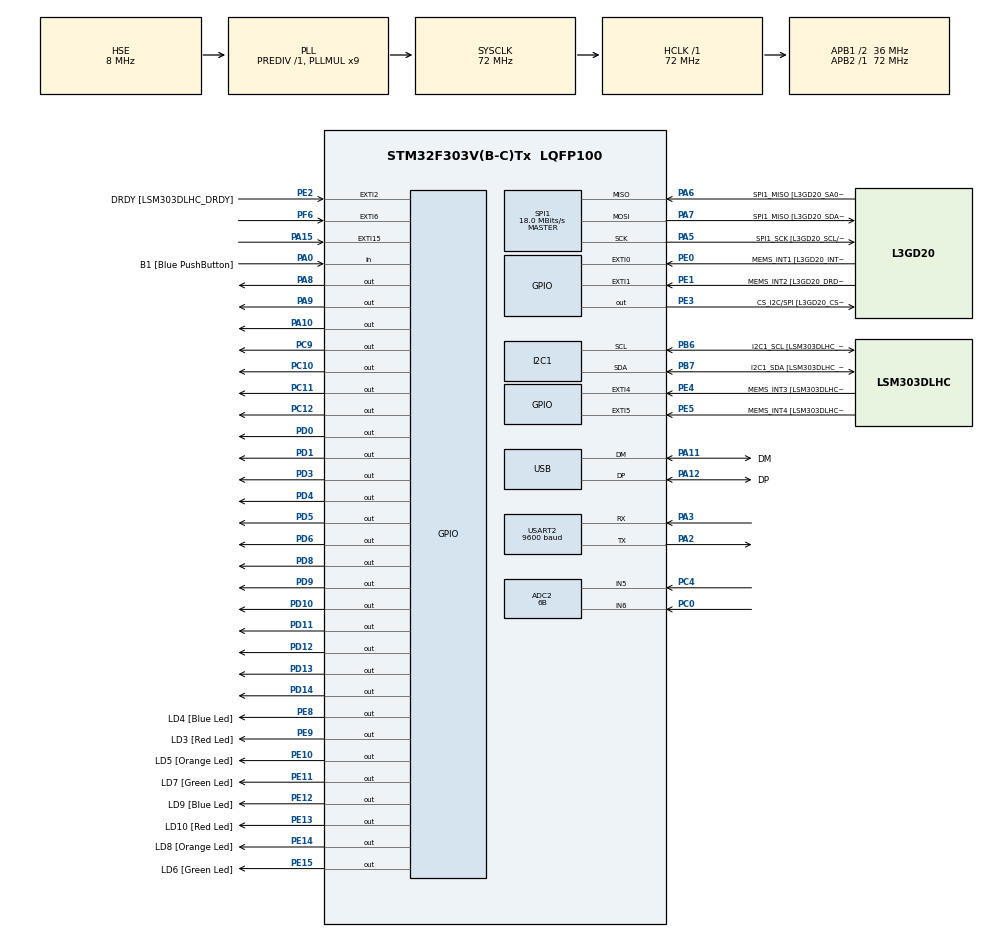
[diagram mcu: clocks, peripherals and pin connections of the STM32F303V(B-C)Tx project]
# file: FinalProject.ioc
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ADC2.Channel-4\#ChannelRegularConversion=ADC_CHANNEL_5
ADC2.NbrOfConversionFlag=1
ADC2.Offset-4\#ChannelRegularConversion=0
ADC2.OffsetNumber-4\#ChannelRegularConversion=ADC_OFFSET_NONE
ADC2.Rank-4\#ChannelRegularConversion=1
ADC2.Resolution=ADC_RESOLUTION_6B
ADC2.SamplingTime-4\#ChannelRegularConversion=ADC_SAMPLETIME_601CYCLES_5
ADC2.SingleDiff-4\#ChannelRegularConversion=ADC_DIFFERENTIAL_ENDED
I2C1.Timing-I2C=0x2000090E
Mcu.Family=STM32F3
Mcu.Name=STM32F303V(B-C)Tx
Mcu.Package=LQFP100
NVIC.ADC1_2_IRQn=true\:1\:0\:true\:false\:true\:true
NVIC.EXTI15_10_IRQn=true\:0\:0\:false\:false\:true\:true
NVIC.EXTI9_5_IRQn=true\:0\:0\:false\:false\:true\:true
NVIC.PriorityGroup=NVIC_PRIORITYGROUP_4
NVIC.TIM2_IRQn=true\:2\:0\:true\:false\:true\:true
NVIC.TIM3_IRQn=true\:1\:0\:true\:false\:true\:true
NVIC.TIM4_IRQn=true\:0\:0\:true\:false\:true\:true
NVIC.USART2_IRQn=true\:0\:0\:true\:false\:true\:true
PA0.GPIO_Label=B1 [Blue PushButton]
PA0.Signal=GPIO_Input
PA10.Signal=GPIO_Output
PA11.GPIO_Label=DM
PA11.Mode=Device
PA11.Signal=USB_DM
PA12.GPIO_Label=DP
PA12.Mode=Device
PA12.Signal=USB_DP
PA13.GPIO_Label=SWDIO
PA13.Mode=Serial_Wire
PA13.Signal=SYS_JTMS-SWDIO
PA14.GPIO_Label=SWCLK
PA14.Mode=Serial_Wire
PA14.Signal=SYS_JTCK-SWCLK
PA15.GPIO_PuPd=GPIO_PULLDOWN
PA15.Signal=GPXTI15
PA2.Mode=Asynchronous
PA2.Signal=USART2_TX
PA3.Mode=Asynchronous
PA3.Signal=USART2_RX
PA5.GPIO_Label=SPI1_SCK [L3GD20_SCL/SPC]
PA5.Mode=Full_Duplex_Master
PA5.Signal=SPI1_SCK
PA6.GPIO_Label=SPI1_MISO [L3GD20_SA0/SDO]
PA6.Mode=Full_Duplex_Master
PA6.Signal=SPI1_MISO
PA7.GPIO_Label=SPI1_MISO [L3GD20_SDA/SDI/SDO]
PA7.Mode=Full_Duplex_Master
PA7.Signal=SPI1_MOSI
PA8.Signal=GPIO_Output
PA9.Signal=GPIO_Output
PB3.GPIO_Label=SWO
PB3.Signal=SYS_JTDO-TRACESWO
PB6.GPIO_Label=I2C1_SCL [LSM303DLHC_SCL]
PB6.Mode=I2C
PB6.Signal=I2C1_SCL
PB7.GPIO_Label=I2C1_SDA [LSM303DLHC_SDA]
PB7.Mode=I2C
PB7.Signal=I2C1_SDA
PC0.Signal=ADCx_IN6
PC10.Signal=GPIO_Output
PC11.Signal=GPIO_Output
PC12.Signal=GPIO_Output
PC14-OSC32_IN.GPIO_Label=OSC32_IN
PC14-OSC32_IN.Signal=RCC_OSC32_IN
PC15-OSC32_OUT.GPIO_Label=OSC32_OUT
PC15-OSC32_OUT.Signal=RCC_OSC32_OUT
PC4.Mode=IN5-Differential
PC4.Signal=ADC2_IN5
PC9.Signal=GPIO_Output
PD0.Signal=GPIO_Output
PD1.Signal=GPIO_Output
PD10.Signal=GPIO_Output
PD11.Signal=GPIO_Output
PD12.Signal=GPIO_Output
PD13.Signal=GPIO_Output
PD14.Signal=GPIO_Output
PD3.Signal=GPIO_Output
PD4.Signal=GPIO_Output
PD5.Signal=GPIO_Output
PD6.Signal=GPIO_Output
PD8.Signal=GPIO_Output
PD9.Signal=GPIO_Output
PE0.GPIO_Label=MEMS_INT1 [L3GD20_INT1]
PE0.GPIO_ModeDefaultEXTI=GPIO_MODE_EVT_RISING
PE0.Signal=GPXTI0
PE1.GPIO_Label=MEMS_INT2 [L3GD20_DRDY/INT2]
PE1.GPIO_ModeDefaultEXTI=GPIO_MODE_EVT_RISING
PE1.Signal=GPXTI1
PE10.GPIO_Label=LD5 [Orange Led]
PE10.Signal=GPIO_Output
PE11.GPIO_Label=LD7 [Green Led]
PE11.Signal=GPIO_Output
PE12.GPIO_Label=LD9 [Blue Led]
PE12.Signal=GPIO_Output
PE13.GPIO_Label=LD10 [Red Led]
PE13.Signal=GPIO_Output
PE14.GPIO_Label=LD8 [Orange Led]
PE14.Signal=GPIO_Output
PE15.GPIO_Label=LD6 [Green Led]
PE15.Signal=GPIO_Output
PE2.GPIO_Label=DRDY [LSM303DLHC_DRDY]
PE2.GPIO_ModeDefaultEXTI=GPIO_MODE_EVT_RISING
PE2.Signal=GPXTI2
PE3.GPIO_Label=CS_I2C/SPI [L3GD20_CS_I2C/SPI]
PE3.Signal=GPIO_Output
PE4.GPIO_Label=MEMS_INT3 [LSM303DLHC_INT1]
PE4.GPIO_ModeDefaultEXTI=GPIO_MODE_EVT_RISING
PE4.Signal=GPXTI4
PE5.GPIO_Label=MEMS_INT4 [LSM303DLHC_INT2]
PE5.GPIO_ModeDefaultEXTI=GPIO_MODE_EVT_RISING
PE5.Signal=GPXTI5
PE8.GPIO_Label=LD4 [Blue Led]
PE8.Signal=GPIO_Output
PE9.GPIO_Label=LD3 [Red Led]
PE9.Signal=GPIO_Output
PF0-OSC_IN.GPIO_Label=OSC_IN
PF0-OSC_IN.Mode=HSE-External-Clock-Source
PF0-OSC_IN.Signal=RCC_OSC_IN
PF1-OSC_OUT.GPIO_Label=OSC_OUT
PF1-OSC_OUT.Signal=RCC_OSC_OUT
PF6.GPIO_PuPd=GPIO_PULLDOWN
PF6.Signal=GPXTI6
ProjectManager.HeapSize=0x200
ProjectManager.StackSize=0x400
ProjectManager.TargetToolchain=MDK-ARM V5
RCC.AHBFreq_Value=72000000
RCC.APB1CLKDivider=RCC_HCLK_DIV2
RCC.APB1Freq_Value=36000000
RCC.APB1TimFreq_Value=72000000
RCC.APB2Freq_Value=72000000
RCC.APB2TimFreq_Value=72000000
RCC.CortexFreq_Value=72000000
RCC.HCLKFreq_Value=72000000
RCC.HSE_VALUE=8000000
RCC.HSI_VALUE=8000000
RCC.LSE_VALUE=32768
RCC.PLLMUL=RCC_PLL_MUL9
RCC.PRESCALERUSB=RCC_USBCLKSOURCE_PLL_DIV1_5
RCC.SYSCLKFreq_VALUE=72000000
RCC.SYSCLKSourceVirtual=RCC_SYSCLKSOURCE_PLLCLK
RCC.USBFreq_Value=48000000
SH.ADCx_IN6.0=ADC2_IN6,IN5-Differential
SPI1.BaudRatePrescaler=SPI_BAUDRATEPRESCALER_4
SPI1.BaudRatePrescaler-Full_Duplex_Master=SPI_BAUDRATEPRESCALER_2
SPI1.CalculateBaudRate=18.0 MBits/s
SPI1.CalculateBaudRate-Full_Duplex_Master=24.0 MBits/s
SPI1.Direction=SPI_DIRECTION_2LINES
SPI1.Mode=SPI_MODE_MASTER
SPI1.Mode-Full_Duplex_Master=SPI_MODE_MASTER
SPI1.VirtualType=VM_MASTER
TIM2.Period=100000
TIM2.Prescaler=1439
TIM3.Period=10000
TIM3.Prescaler=125
TIM4.Period=1000
TIM4.Prescaler=125
USART2.BaudRate=9600
USART2.VirtualMode-Asynchronous=VM_ASYNC
VP_TIM2_VS_ClockSourceINT.Mode=Internal
VP_TIM3_VS_ClockSourceINT.Mode=Internal
VP_TIM4_VS_ClockSourceINT.Mode=Internal
board=STM32F3DISCOVERY

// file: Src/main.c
/**
  ******************************************************************************
  * @file           : main.c
  * @brief          : Main program body
  ******************************************************************************
  ** This notice applies to any and all portions of this file
  * that are not between comment pairs USER CODE BEGIN and
  * USER CODE END. Other portions of this file, whether
  * inserted by the user or by software development tools
  * are owned by their respective copyright owners.
  *
  * COPYRIGHT(c) 2020 STMicroelectronics
  *
  * Redistribution and use in source and binary forms, with or without modification,
  * are permitted provided that the following conditions are met:
  *   1. Redistributions of source code must retain the above copyright notice,
  *      this list of conditions and the following disclaimer.
  *   2. Redistributions in binary form must reproduce the above copyright notice,
  *      this list of conditions and the following disclaimer in the documentation
  *      and/or other materials provided with the distribution.
  *   3. Neither the name of STMicroelectronics nor the names of its contributors
  *      may be used to endorse or promote products derived from this software
  *      without specific prior written permission.
  *
  * THIS SOFTWARE IS PROVIDED BY THE COPYRIGHT HOLDERS AND CONTRIBUTORS "AS IS"
  * AND ANY EXPRESS OR IMPLIED WARRANTIES, INCLUDING, BUT NOT LIMITED TO, THE
  * IMPLIED WARRANTIES OF MERCHANTABILITY AND FITNESS FOR A PARTICULAR PURPOSE ARE
  * DISCLAIMED. IN NO EVENT SHALL THE COPYRIGHT HOLDER OR CONTRIBUTORS BE LIABLE
  * FOR ANY DIRECT, INDIRECT, INCIDENTAL, SPECIAL, EXEMPLARY, OR CONSEQUENTIAL
  * DAMAGES (INCLUDING, BUT NOT LIMITED TO, PROCUREMENT OF SUBSTITUTE GOODS OR
  * SERVICES; LOSS OF USE, DATA, OR PROFITS; OR BUSINESS INTERRUPTION) HOWEVER
  * CAUSED AND ON ANY THEORY OF LIABILITY, WHETHER IN CONTRACT, STRICT LIABILITY,
  * OR TORT (INCLUDING NEGLIGENCE OR OTHERWISE) ARISING IN ANY WAY OUT OF THE USE
  * OF THIS SOFTWARE, EVEN IF ADVISED OF THE POSSIBILITY OF SUCH DAMAGE.
  *
  ******************************************************************************
  */
#include "main.h"
#include "stm32f3xx_hal.h"

/* USER CODE BEGIN Includes */
#include "stdio.h"
#include "stdlib.h"
#include "time.h"
#include "LiquidCrystal.h"
/* USER CODE END Includes */

ADC_HandleTypeDef hadc2;

I2C_HandleTypeDef hi2c1;

SPI_HandleTypeDef hspi1;

TIM_HandleTypeDef htim2;
TIM_HandleTypeDef htim3;
TIM_HandleTypeDef htim4;

UART_HandleTypeDef huart2;

PCD_HandleTypeDef hpcd_USB_FS;

/* USER CODE BEGIN PV */
/* Private variables ---------------------------------------------------------*/

/* USER CODE END PV */

void SystemClock_Config(void);
static void MX_GPIO_Init(void);
static void MX_I2C1_Init(void);
static void MX_SPI1_Init(void);
static void MX_USB_PCD_Init(void);
static void MX_USART2_UART_Init(void);
static void MX_TIM2_Init(void);
static void MX_TIM4_Init(void);
static void MX_ADC2_Init(void);
static void MX_TIM3_Init(void);

/* USER CODE BEGIN PFP */
/* Private function prototypes -----------------------------------------------*/

/* USER CODE END PFP */

/* USER CODE BEGIN 0 */
int shuru=0;
int yeks=0;
int i=0,j=0,f=0,l=0,le=0;
int arr[20][8]={0};
unsigned char data[1];
typedef unsigned char byte;
int speed=5;
byte nghte[8] = {
  0x06,
  0x06,
  0x00,
  0x00,
  0x00,
  0x00,
  0x00,
  0x00
};
byte ccs[8] = {
  0x00,
  0x00,
  0x07,
  0x0F,
  0x1C,
  0x18,
  0x00,
  0x00
};
byte ccst[8] = {
  0x00,
  0x00,
  0x18,
  0x1E,
  0x0F,
  0x03,
  0x00,
  0x00
};
byte up[8] = {
  0x00,
  0x00,
  0x1F,
  0x1F,
  0x00,
  0x00,
  0x00,
  0x00
};
byte upvsib[8] = {
  0x00,
  0x00,
  0x1F,
  0x1F,
  0x00,
  0x04,
  0x0A,
  0x04
};
byte dwnvsib[8] = {
  0x04,
  0x0A,
  0x04,
  0x00,
  0x00,
  0x00,
  0x1F,
  0x1F
};
byte usib[8] = {
  0x04,
  0x0A,
  0x04,
  0x00,
  0x00,
  0x00,
  0x00,
  0x00
};
byte dsib[8] = {
  0x00,
  0x00,
  0x00,
  0x00,
  0x00,
  0x04,
  0x0A,
  0x04
};
byte dwn[8] = {
  0x00,
  0x00,
  0x00,
  0x00,
  0x00,
  0x00,
  0x1F,
  0x1F
};
byte dota[8] = {
  0x00,
  0x00,
  0x1F,
  0x1F,
  0x00,
  0x00,
  0x1F,
  0x1F
};
byte astin2[] = {
  0x07,
  0x08,
  0x10,
  0x10,
  0x10,
  0x10,
  0x08,
  0x05
};
byte shast[] = {
  0x05,
  0x05,
  0x02,
  0x00,
  0x00,
  0x00,
  0x00,
  0x00
};
byte dast[] = {
  0x1E,
  0x01,
  0x07,
  0x01,
  0x07,
  0x01,
  0x1E,
  0x00
};
byte avalsar[8] = {
  0x00,
  0x00,
  0x0C,
  0x1A,
  0x1F,
  0x1F,
  0x00,
  0x00
};
byte dahan[8] = {
  0x00,
  0x00,
  0x0C,
  0x1B,
  0x1E,
  0x1F,
  0x00,
  0x00
};
byte kolebadn[8] = {
  0x00,
  0x00,
  0x00,
  0x00,
  0x1F,
  0x1F,
  0x00,
  0x00
};
byte siah[8] = {
  0x00,
  0x0C,
  0x08,
  0x1C,
  0x1C,
  0x1C,
  0x00,
  0x00
};
byte sarebar[8] = {
  0x01,
  0x03,
  0x03,
  0x01,
  0x00,
  0x00,
  0x00,
  0x00
};
byte tahebar[8] = {
  0x10,
  0x18,
  0x18,
  0x10,
  0x00,
  0x00,
  0x00,
  0x00
};
byte badanebar[8] = {
  0x1F,
  0x00,
  0x00,
  0x1F,
  0x00,
  0x00,
  0x00,
  0x00
};
byte harbar[8] = {
   0x18,
  0x18,
  0x18,
  0x18,
  0x00,
  0x00,
  0x00,
  0x00
};
byte dobar[8] = {
  0x1B,
  0x1B,
  0x1B,
  0x1B,
  0x00,
  0x00,
  0x00,
  0x00
};

int x=0,y=0,cnt=0;
byte sar1[] = {
  0x1F,
  0x1F,
  0x1C,
  0x1C,
  0x10,
  0x08,
  0x06,
  0x01
};
byte sar3[] = {
  0x1F,
  0x1F,
  0x07,
  0x07,
  0x01,
  0x02,
  0x0C,
  0x10
};
byte sar2[] = {
  0x1F,
  0x1F,
  0x00,
  0x1B,
  0x1B,
  0x00,
  0x0E,
  0x00
};
/* USER CODE END 0 */

int main(void)
{

  /* MCU Configuration----------------------------------------------------------*/

  /* Reset of all peripherals, Initializes the Flash interface and the Systick. */
  HAL_Init();

  /* Configure the system clock */
  SystemClock_Config();

  /* Initialize all configured peripherals */
  MX_GPIO_Init();
  MX_I2C1_Init();
  MX_SPI1_Init();
  MX_USB_PCD_Init();
  MX_USART2_UART_Init();
  MX_TIM2_Init();
  MX_TIM4_Init();
  MX_ADC2_Init();
  MX_TIM3_Init();
  /* USER CODE BEGIN 2 */
	LiquidCrystal(GPIOD,GPIO_PIN_8,GPIO_PIN_9,GPIO_PIN_10,GPIO_PIN_11,GPIO_PIN_12,GPIO_PIN_13,GPIO_PIN_14);
	begin(20,4);
	HAL_TIM_Base_Start_IT(&htim3);
	HAL_GPIO_WritePin(GPIOA,GPIO_PIN_10,GPIO_PIN_SET);
	HAL_GPIO_WritePin(GPIOA,GPIO_PIN_9,GPIO_PIN_SET);
	HAL_GPIO_WritePin(GPIOA,GPIO_PIN_8,GPIO_PIN_SET);
	HAL_GPIO_WritePin(GPIOC,GPIO_PIN_9,GPIO_PIN_SET);
  HAL_UART_Receive_IT(&huart2,data,sizeof(data));
  /* USER CODE END 2 */

  /* Infinite loop */
  while (1)
  {

  }

}

void SystemClock_Config(void)
{

  RCC_OscInitTypeDef RCC_OscInitStruct;
  RCC_ClkInitTypeDef RCC_ClkInitStruct;
  RCC_PeriphCLKInitTypeDef PeriphClkInit;

    /**Initializes the CPU, AHB and APB busses clocks
    */
  RCC_OscInitStruct.OscillatorType = RCC_OSCILLATORTYPE_HSI|RCC_OSCILLATORTYPE_HSE;
  RCC_OscInitStruct.HSEState = RCC_HSE_BYPASS;
  RCC_OscInitStruct.HSEPredivValue = RCC_HSE_PREDIV_DIV1;
  RCC_OscInitStruct.HSIState = RCC_HSI_ON;
  RCC_OscInitStruct.HSICalibrationValue = 16;
  RCC_OscInitStruct.PLL.PLLState = RCC_PLL_ON;
  RCC_OscInitStruct.PLL.PLLSource = RCC_PLLSOURCE_HSE;
  RCC_OscInitStruct.PLL.PLLMUL = RCC_PLL_MUL9;
  if (HAL_RCC_OscConfig(&RCC_OscInitStruct) != HAL_OK)
  {
    _Error_Handler(__FILE__, __LINE__);
  }

    /**Initializes the CPU, AHB and APB busses clocks
    */
  RCC_ClkInitStruct.ClockType = RCC_CLOCKTYPE_HCLK|RCC_CLOCKTYPE_SYSCLK
                              |RCC_CLOCKTYPE_PCLK1|RCC_CLOCKTYPE_PCLK2;
  RCC_ClkInitStruct.SYSCLKSource = RCC_SYSCLKSOURCE_PLLCLK;
  RCC_ClkInitStruct.AHBCLKDivider = RCC_SYSCLK_DIV1;
  RCC_ClkInitStruct.APB1CLKDivider = RCC_HCLK_DIV2;
  RCC_ClkInitStruct.APB2CLKDivider = RCC_HCLK_DIV1;

  if (HAL_RCC_ClockConfig(&RCC_ClkInitStruct, FLASH_LATENCY_2) != HAL_OK)
  {
    _Error_Handler(__FILE__, __LINE__);
  }

  PeriphClkInit.PeriphClockSelection = RCC_PERIPHCLK_USB|RCC_PERIPHCLK_USART2
                              |RCC_PERIPHCLK_I2C1|RCC_PERIPHCLK_ADC12;
  PeriphClkInit.Usart2ClockSelection = RCC_USART2CLKSOURCE_PCLK1;
  PeriphClkInit.Adc12ClockSelection = RCC_ADC12PLLCLK_DIV1;
  PeriphClkInit.I2c1ClockSelection = RCC_I2C1CLKSOURCE_HSI;
  PeriphClkInit.USBClockSelection = RCC_USBCLKSOURCE_PLL_DIV1_5;
  if (HAL_RCCEx_PeriphCLKConfig(&PeriphClkInit) != HAL_OK)
  {
    _Error_Handler(__FILE__, __LINE__);
  }

    /**Configure the Systick interrupt time
    */
  HAL_SYSTICK_Config(HAL_RCC_GetHCLKFreq()/1000);

    /**Configure the Systick
    */
  HAL_SYSTICK_CLKSourceConfig(SYSTICK_CLKSOURCE_HCLK);

  /* SysTick_IRQn interrupt configuration */
  HAL_NVIC_SetPriority(SysTick_IRQn, 0, 0);
}

/* ADC2 init function */
static void MX_ADC2_Init(void)
{

  ADC_ChannelConfTypeDef sConfig;

    /**Common config
    */
  hadc2.Instance = ADC2;
  hadc2.Init.ClockPrescaler = ADC_CLOCK_ASYNC_DIV1;
  hadc2.Init.Resolution = ADC_RESOLUTION_6B;
  hadc2.Init.ScanConvMode = ADC_SCAN_DISABLE;
  hadc2.Init.ContinuousConvMode = DISABLE;
  hadc2.Init.DiscontinuousConvMode = DISABLE;
  hadc2.Init.ExternalTrigConvEdge = ADC_EXTERNALTRIGCONVEDGE_NONE;
  hadc2.Init.ExternalTrigConv = ADC_SOFTWARE_START;
  hadc2.Init.DataAlign = ADC_DATAALIGN_RIGHT;
  hadc2.Init.NbrOfConversion = 1;
  hadc2.Init.DMAContinuousRequests = DISABLE;
  hadc2.Init.EOCSelection = ADC_EOC_SINGLE_CONV;
  hadc2.Init.LowPowerAutoWait = DISABLE;
  hadc2.Init.Overrun = ADC_OVR_DATA_OVERWRITTEN;
  if (HAL_ADC_Init(&hadc2) != HAL_OK)
  {
    _Error_Handler(__FILE__, __LINE__);
  }

    /**Configure Regular Channel
    */
  sConfig.Channel = ADC_CHANNEL_5;
  sConfig.Rank = ADC_REGULAR_RANK_1;
  sConfig.SingleDiff = ADC_DIFFERENTIAL_ENDED;
  sConfig.SamplingTime = ADC_SAMPLETIME_601CYCLES_5;
  sConfig.OffsetNumber = ADC_OFFSET_NONE;
  sConfig.Offset = 0;
  if (HAL_ADC_ConfigChannel(&hadc2, &sConfig) != HAL_OK)
  {
    _Error_Handler(__FILE__, __LINE__);
  }

}

/* I2C1 init function */
static void MX_I2C1_Init(void)
{

  hi2c1.Instance = I2C1;
  hi2c1.Init.Timing = 0x2000090E;
  hi2c1.Init.OwnAddress1 = 0;
  hi2c1.Init.AddressingMode = I2C_ADDRESSINGMODE_7BIT;
  hi2c1.Init.DualAddressMode = I2C_DUALADDRESS_DISABLE;
  hi2c1.Init.OwnAddress2 = 0;
  hi2c1.Init.OwnAddress2Masks = I2C_OA2_NOMASK;
  hi2c1.Init.GeneralCallMode = I2C_GENERALCALL_DISABLE;
  hi2c1.Init.NoStretchMode = I2C_NOSTRETCH_DISABLE;
  if (HAL_I2C_Init(&hi2c1) != HAL_OK)
  {
    _Error_Handler(__FILE__, __LINE__);
  }

    /**Configure Analogue filter
    */
  if (HAL_I2CEx_ConfigAnalogFilter(&hi2c1, I2C_ANALOGFILTER_ENABLE) != HAL_OK)
  {
    _Error_Handler(__FILE__, __LINE__);
  }

    /**Configure Digital filter
    */
  if (HAL_I2CEx_ConfigDigitalFilter(&hi2c1, 0) != HAL_OK)
  {
    _Error_Handler(__FILE__, __LINE__);
  }

}

/* SPI1 init function */
static void MX_SPI1_Init(void)
{

  /* SPI1 parameter configuration*/
  hspi1.Instance = SPI1;
  hspi1.Init.Mode = SPI_MODE_MASTER;
  hspi1.Init.Direction = SPI_DIRECTION_2LINES;
  hspi1.Init.DataSize = SPI_DATASIZE_4BIT;
  hspi1.Init.CLKPolarity = SPI_POLARITY_LOW;
  hspi1.Init.CLKPhase = SPI_PHASE_1EDGE;
  hspi1.Init.NSS = SPI_NSS_SOFT;
  hspi1.Init.BaudRatePrescaler = SPI_BAUDRATEPRESCALER_4;
  hspi1.Init.FirstBit = SPI_FIRSTBIT_MSB;
  hspi1.Init.TIMode = SPI_TIMODE_DISABLE;
  hspi1.Init.CRCCalculation = SPI_CRCCALCULATION_DISABLE;
  hspi1.Init.CRCPolynomial = 7;
  hspi1.Init.CRCLength = SPI_CRC_LENGTH_DATASIZE;
  hspi1.Init.NSSPMode = SPI_NSS_PULSE_ENABLE;
  if (HAL_SPI_Init(&hspi1) != HAL_OK)
  {
    _Error_Handler(__FILE__, __LINE__);
  }

}

/* TIM2 init function */
static void MX_TIM2_Init(void)
{

  TIM_ClockConfigTypeDef sClockSourceConfig;
  TIM_MasterConfigTypeDef sMasterConfig;

  htim2.Instance = TIM2;
  htim2.Init.Prescaler = 1439;
  htim2.Init.CounterMode = TIM_COUNTERMODE_UP;
  htim2.Init.Period = 100000;
  htim2.Init.ClockDivision = TIM_CLOCKDIVISION_DIV1;
  htim2.Init.AutoReloadPreload = TIM_AUTORELOAD_PRELOAD_DISABLE;
  if (HAL_TIM_Base_Init(&htim2) != HAL_OK)
  {
    _Error_Handler(__FILE__, __LINE__);
  }

  sClockSourceConfig.ClockSource = TIM_CLOCKSOURCE_INTERNAL;
  if (HAL_TIM_ConfigClockSource(&htim2, &sClockSourceConfig) != HAL_OK)
  {
    _Error_Handler(__FILE__, __LINE__);
  }

  sMasterConfig.MasterOutputTrigger = TIM_TRGO_RESET;
  sMasterConfig.MasterSlaveMode = TIM_MASTERSLAVEMODE_DISABLE;
  if (HAL_TIMEx_MasterConfigSynchronization(&htim2, &sMasterConfig) != HAL_OK)
  {
    _Error_Handler(__FILE__, __LINE__);
  }

}

/* TIM3 init function */
static void MX_TIM3_Init(void)
{

  TIM_ClockConfigTypeDef sClockSourceConfig;
  TIM_MasterConfigTypeDef sMasterConfig;

  htim3.Instance = TIM3;
  htim3.Init.Prescaler = 125;
  htim3.Init.CounterMode = TIM_COUNTERMODE_UP;
  htim3.Init.Period = 10000;
  htim3.Init.ClockDivision = TIM_CLOCKDIVISION_DIV1;
  htim3.Init.AutoReloadPreload = TIM_AUTORELOAD_PRELOAD_DISABLE;
  if (HAL_TIM_Base_Init(&htim3) != HAL_OK)
  {
    _Error_Handler(__FILE__, __LINE__);
  }

  sClockSourceConfig.ClockSource = TIM_CLOCKSOURCE_INTERNAL;
  if (HAL_TIM_ConfigClockSource(&htim3, &sClockSourceConfig) != HAL_OK)
  {
    _Error_Handler(__FILE__, __LINE__);
  }

  sMasterConfig.MasterOutputTrigger = TIM_TRGO_RESET;
  sMasterConfig.MasterSlaveMode = TIM_MASTERSLAVEMODE_DISABLE;
  if (HAL_TIMEx_MasterConfigSynchronization(&htim3, &sMasterConfig) != HAL_OK)
  {
    _Error_Handler(__FILE__, __LINE__);
  }

}

/* TIM4 init function */
static void MX_TIM4_Init(void)
{

  TIM_ClockConfigTypeDef sClockSourceConfig;
  TIM_MasterConfigTypeDef sMasterConfig;

  htim4.Instance = TIM4;
  htim4.Init.Prescaler = 125;
  htim4.Init.CounterMode = TIM_COUNTERMODE_UP;
  htim4.Init.Period = 1000;
  htim4.Init.ClockDivision = TIM_CLOCKDIVISION_DIV1;
  htim4.Init.AutoReloadPreload = TIM_AUTORELOAD_PRELOAD_DISABLE;
  if (HAL_TIM_Base_Init(&htim4) != HAL_OK)
  {
    _Error_Handler(__FILE__, __LINE__);
  }

  sClockSourceConfig.ClockSource = TIM_CLOCKSOURCE_INTERNAL;
  if (HAL_TIM_ConfigClockSource(&htim4, &sClockSourceConfig) != HAL_OK)
  {
    _Error_Handler(__FILE__, __LINE__);
  }

  sMasterConfig.MasterOutputTrigger = TIM_TRGO_RESET;
  sMasterConfig.MasterSlaveMode = TIM_MASTERSLAVEMODE_DISABLE;
  if (HAL_TIMEx_MasterConfigSynchronization(&htim4, &sMasterConfig) != HAL_OK)
  {
    _Error_Handler(__FILE__, __LINE__);
  }

}

/* USART2 init function */
static void MX_USART2_UART_Init(void)
{

  huart2.Instance = USART2;
  huart2.Init.BaudRate = 9600;
  huart2.Init.WordLength = UART_WORDLENGTH_8B;
  huart2.Init.StopBits = UART_STOPBITS_1;
  huart2.Init.Parity = UART_PARITY_NONE;
  huart2.Init.Mode = UART_MODE_TX_RX;
  huart2.Init.HwFlowCtl = UART_HWCONTROL_NONE;
  huart2.Init.OverSampling = UART_OVERSAMPLING_16;
  huart2.Init.OneBitSampling = UART_ONE_BIT_SAMPLE_DISABLE;
  huart2.AdvancedInit.AdvFeatureInit = UART_ADVFEATURE_NO_INIT;
  if (HAL_UART_Init(&huart2) != HAL_OK)
  {
    _Error_Handler(__FILE__, __LINE__);
  }

}

/* USB init function */
static void MX_USB_PCD_Init(void)
{

  hpcd_USB_FS.Instance = USB;
  hpcd_USB_FS.Init.dev_endpoints = 8;
  hpcd_USB_FS.Init.speed = PCD_SPEED_FULL;
  hpcd_USB_FS.Init.ep0_mps = DEP0CTL_MPS_64;
  hpcd_USB_FS.Init.phy_itface = PCD_PHY_EMBEDDED;
  hpcd_USB_FS.Init.low_power_enable = DISABLE;
  hpcd_USB_FS.Init.battery_charging_enable = DISABLE;
  if (HAL_PCD_Init(&hpcd_USB_FS) != HAL_OK)
  {
    _Error_Handler(__FILE__, __LINE__);
  }

}

/** Configure pins as
        * Analog
        * Input
        * Output
        * EVENT_OUT
        * EXTI
        * Free pins are configured automatically as Analog (this feature is enabled through
        * the Code Generation settings)
*/
static void MX_GPIO_Init(void)
{

  GPIO_InitTypeDef GPIO_InitStruct;

  /* GPIO Ports Clock Enable */
  __HAL_RCC_GPIOE_CLK_ENABLE();
  __HAL_RCC_GPIOC_CLK_ENABLE();
  __HAL_RCC_GPIOF_CLK_ENABLE();
  __HAL_RCC_GPIOA_CLK_ENABLE();
  __HAL_RCC_GPIOB_CLK_ENABLE();
  __HAL_RCC_GPIOD_CLK_ENABLE();

  /*Configure GPIO pin Output Level */
  HAL_GPIO_WritePin(GPIOE, CS_I2C_SPI_Pin|LD4_Pin|LD3_Pin|LD5_Pin
                          |LD7_Pin|LD9_Pin|LD10_Pin|LD8_Pin
                          |LD6_Pin, GPIO_PIN_RESET);

  /*Configure GPIO pin Output Level */
  HAL_GPIO_WritePin(GPIOD, GPIO_PIN_8|GPIO_PIN_9|GPIO_PIN_10|GPIO_PIN_11
                          |GPIO_PIN_12|GPIO_PIN_13|GPIO_PIN_14|GPIO_PIN_0
                          |GPIO_PIN_1|GPIO_PIN_3|GPIO_PIN_4|GPIO_PIN_5
                          |GPIO_PIN_6, GPIO_PIN_RESET);

  /*Configure GPIO pin Output Level */
  HAL_GPIO_WritePin(GPIOC, GPIO_PIN_9|GPIO_PIN_10|GPIO_PIN_11|GPIO_PIN_12, GPIO_PIN_RESET);

  /*Configure GPIO pin Output Level */
  HAL_GPIO_WritePin(GPIOA, GPIO_PIN_8|GPIO_PIN_9|GPIO_PIN_10, GPIO_PIN_RESET);

  /*Configure GPIO pins : DRDY_Pin MEMS_INT3_Pin MEMS_INT4_Pin MEMS_INT1_Pin
                           MEMS_INT2_Pin */
  GPIO_InitStruct.Pin = DRDY_Pin|MEMS_INT3_Pin|MEMS_INT4_Pin|MEMS_INT1_Pin
                          |MEMS_INT2_Pin;
  GPIO_InitStruct.Mode = GPIO_MODE_EVT_RISING;
  GPIO_InitStruct.Pull = GPIO_NOPULL;
  HAL_GPIO_Init(GPIOE, &GPIO_InitStruct);

  /*Configure GPIO pins : CS_I2C_SPI_Pin LD4_Pin LD3_Pin LD5_Pin
                           LD7_Pin LD9_Pin LD10_Pin LD8_Pin
                           LD6_Pin */
  GPIO_InitStruct.Pin = CS_I2C_SPI_Pin|LD4_Pin|LD3_Pin|LD5_Pin
                          |LD7_Pin|LD9_Pin|LD10_Pin|LD8_Pin
                          |LD6_Pin;
  GPIO_InitStruct.Mode = GPIO_MODE_OUTPUT_PP;
  GPIO_InitStruct.Pull = GPIO_NOPULL;
  GPIO_InitStruct.Speed = GPIO_SPEED_FREQ_LOW;
  HAL_GPIO_Init(GPIOE, &GPIO_InitStruct);

  /*Configure GPIO pins : PE6 PE7 */
  GPIO_InitStruct.Pin = GPIO_PIN_6|GPIO_PIN_7;
  GPIO_InitStruct.Mode = GPIO_MODE_ANALOG;
  GPIO_InitStruct.Pull = GPIO_NOPULL;
  HAL_GPIO_Init(GPIOE, &GPIO_InitStruct);

  /*Configure GPIO pins : PC13 PC1 PC2 PC3
                           PC5 PC6 PC7 PC8 */
  GPIO_InitStruct.Pin = GPIO_PIN_13|GPIO_PIN_1|GPIO_PIN_2|GPIO_PIN_3
                          |GPIO_PIN_5|GPIO_PIN_6|GPIO_PIN_7|GPIO_PIN_8;
  GPIO_InitStruct.Mode = GPIO_MODE_ANALOG;
  GPIO_InitStruct.Pull = GPIO_NOPULL;
  HAL_GPIO_Init(GPIOC, &GPIO_InitStruct);

  /*Configure GPIO pins : PF9 PF10 PF2 PF4 */
  GPIO_InitStruct.Pin = GPIO_PIN_9|GPIO_PIN_10|GPIO_PIN_2|GPIO_PIN_4;
  GPIO_InitStruct.Mode = GPIO_MODE_ANALOG;
  GPIO_InitStruct.Pull = GPIO_NOPULL;
  HAL_GPIO_Init(GPIOF, &GPIO_InitStruct);

  /*Configure GPIO pin : B1_Pin */
  GPIO_InitStruct.Pin = B1_Pin;
  GPIO_InitStruct.Mode = GPIO_MODE_INPUT;
  GPIO_InitStruct.Pull = GPIO_NOPULL;
  HAL_GPIO_Init(B1_GPIO_Port, &GPIO_InitStruct);

  /*Configure GPIO pins : PA1 PA4 */
  GPIO_InitStruct.Pin = GPIO_PIN_1|GPIO_PIN_4;
  GPIO_InitStruct.Mode = GPIO_MODE_ANALOG;
  GPIO_InitStruct.Pull = GPIO_NOPULL;
  HAL_GPIO_Init(GPIOA, &GPIO_InitStruct);

  /*Configure GPIO pins : PB0 PB1 PB2 PB10
                           PB11 PB12 PB13 PB14
                           PB15 PB4 PB5 PB8
                           PB9 */
  GPIO_InitStruct.Pin = GPIO_PIN_0|GPIO_PIN_1|GPIO_PIN_2|GPIO_PIN_10
                          |GPIO_PIN_11|GPIO_PIN_12|GPIO_PIN_13|GPIO_PIN_14
                          |GPIO_PIN_15|GPIO_PIN_4|GPIO_PIN_5|GPIO_PIN_8
                          |GPIO_PIN_9;
  GPIO_InitStruct.Mode = GPIO_MODE_ANALOG;
  GPIO_InitStruct.Pull = GPIO_NOPULL;
  HAL_GPIO_Init(GPIOB, &GPIO_InitStruct);

  /*Configure GPIO pins : PD8 PD9 PD10 PD11
                           PD12 PD13 PD14 PD0
                           PD1 PD3 PD4 PD5
                           PD6 */
  GPIO_InitStruct.Pin = GPIO_PIN_8|GPIO_PIN_9|GPIO_PIN_10|GPIO_PIN_11
                          |GPIO_PIN_12|GPIO_PIN_13|GPIO_PIN_14|GPIO_PIN_0
                          |GPIO_PIN_1|GPIO_PIN_3|GPIO_PIN_4|GPIO_PIN_5
                          |GPIO_PIN_6;
  GPIO_InitStruct.Mode = GPIO_MODE_OUTPUT_PP;
  GPIO_InitStruct.Pull = GPIO_NOPULL;
  GPIO_InitStruct.Speed = GPIO_SPEED_FREQ_LOW;
  HAL_GPIO_Init(GPIOD, &GPIO_InitStruct);

  /*Configure GPIO pins : PD15 PD2 PD7 */
  GPIO_InitStruct.Pin = GPIO_PIN_15|GPIO_PIN_2|GPIO_PIN_7;
  GPIO_InitStruct.Mode = GPIO_MODE_ANALOG;
  GPIO_InitStruct.Pull = GPIO_NOPULL;
  HAL_GPIO_Init(GPIOD, &GPIO_InitStruct);

  /*Configure GPIO pins : PC9 PC10 PC11 PC12 */
  GPIO_InitStruct.Pin = GPIO_PIN_9|GPIO_PIN_10|GPIO_PIN_11|GPIO_PIN_12;
  GPIO_InitStruct.Mode = GPIO_MODE_OUTPUT_PP;
  GPIO_InitStruct.Pull = GPIO_NOPULL;
  GPIO_InitStruct.Speed = GPIO_SPEED_FREQ_LOW;
  HAL_GPIO_Init(GPIOC, &GPIO_InitStruct);

  /*Configure GPIO pins : PA8 PA9 PA10 */
  GPIO_InitStruct.Pin = GPIO_PIN_8|GPIO_PIN_9|GPIO_PIN_10;
  GPIO_InitStruct.Mode = GPIO_MODE_OUTPUT_PP;
  GPIO_InitStruct.Pull = GPIO_NOPULL;
  GPIO_InitStruct.Speed = GPIO_SPEED_FREQ_LOW;
  HAL_GPIO_Init(GPIOA, &GPIO_InitStruct);

  /*Configure GPIO pin : PF6 */
  GPIO_InitStruct.Pin = GPIO_PIN_6;
  GPIO_InitStruct.Mode = GPIO_MODE_IT_RISING;
  GPIO_InitStruct.Pull = GPIO_PULLDOWN;
  HAL_GPIO_Init(GPIOF, &GPIO_InitStruct);

  /*Configure GPIO pin : PA15 */
  GPIO_InitStruct.Pin = GPIO_PIN_15;
  GPIO_InitStruct.Mode = GPIO_MODE_IT_RISING;
  GPIO_InitStruct.Pull = GPIO_PULLDOWN;
  HAL_GPIO_Init(GPIOA, &GPIO_InitStruct);

  /* EXTI interrupt init*/
  HAL_NVIC_SetPriority(EXTI9_5_IRQn, 0, 0);
  HAL_NVIC_EnableIRQ(EXTI9_5_IRQn);

  HAL_NVIC_SetPriority(EXTI15_10_IRQn, 0, 0);
  HAL_NVIC_EnableIRQ(EXTI15_10_IRQn);

}

void _Error_Handler(char *file, int line)
{
  while(1)
  {
  }
}

/************************ (C) COPYRIGHT STMicroelectronics *****END OF FILE****/
